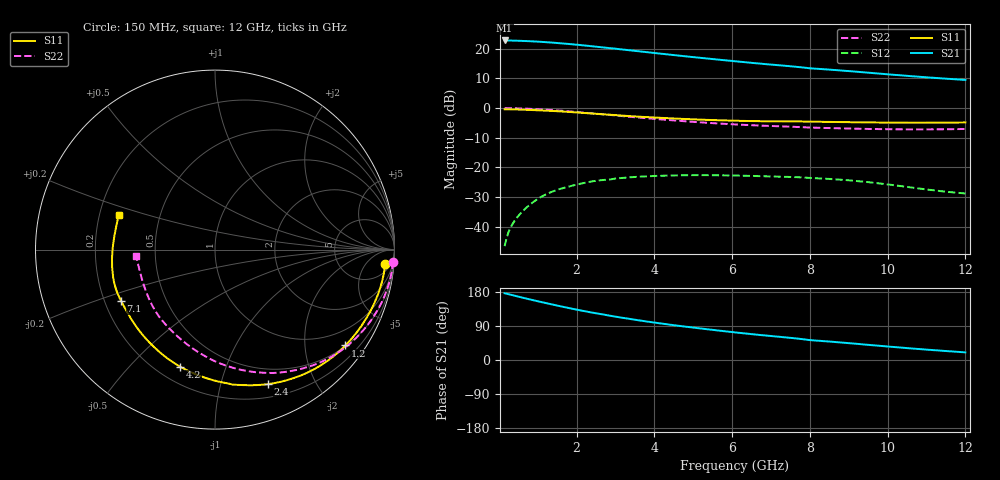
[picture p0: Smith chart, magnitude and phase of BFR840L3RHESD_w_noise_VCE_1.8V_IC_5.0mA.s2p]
! Infineon Technologies  Discrete & RF Semiconductors
! BFR840L3RHESD
! VCE =  1.8 V,  IC =  5.0 mA
! Common Emitter S-Parameters:  Jun 2012
# GHz  S  MA  R  50
!  f  S11  S21  S12  S22
! GHz  MAG  ANG  MAG  ANG  MAG  ANG  MAG  ANG
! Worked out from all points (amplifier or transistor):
!   91 points, 150 MHz to 12 GHz, reference 50 ohm
!   highest |S21| = 22.7 dB at 150 MHz (marker M1)
!   |S21| within 3 dB of that: start of sweep to 3.149 GHz
!   unconditionally stable (mu >= 1): 9.257 GHz to end of sweep
!   at 1.3 GHz: K = 0.11, MSG = 25.3 dB, |S12| = -28.6 dB
!   at 4.3 GHz: K = 0.28, MSG = 20.4 dB, |S12| = -22.8 dB
!   at 12 GHz: K = 2.36, MAG = 12.6 dB, |S12| = -28.8 dB
!   lowest NFmin = 0.50 dB at 450 MHz
!   S11 on the Smith chart (normalised r, x): 150 MHz: 11, -18; 1.2 GHz: 0.52, -2.97; 2.4 GHz: 0.33, -1.42; 4.2 GHz: 0.29, -0.70; 7.1 GHz: 0.27, -0.24; 12 GHz: 0.28, +0.16
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0.15  0.9513 -4.8  13.71 176.1  0.0047 78.8  0.9955 -3.9
0.3  0.9487 -9.6  13.66 172.4  0.0096 80.6  0.9915 -7.8
0.6  0.9363 -18.7  13.47 164.8  0.0179 77.8  0.979 -15.4
0.9  0.9199 -27.6  13.21 157.5  0.0264 69.8  0.9601 -22.6
1.2  0.9019 -36.3  12.85 150.5  0.0347 63.4  0.9363 -29.7
1.5  0.8814 -44.7  12.43 143.7  0.0417 58.8  0.909 -36.7
1.7  0.8658 -50.3  12.12 139.3  0.0456 55.9  0.8888 -41.1
1.9  0.849 -55.7  11.8 135.0  0.0493 52.8  0.8672 -45.5
2.2  0.8227 -63.5  11.29 129.0  0.0547 47.5  0.8333 -51.7
2.4  0.8056 -68.5  10.95 125.2  0.058 44.1  0.8109 -55.7
3  0.7586 -82.5  9.969 114.4  0.0648 35.5  0.7481 -66.7
3.3  0.7342 -88.9  9.47 109.5  0.0673 31.6  0.7171 -72.1
3.7  0.7079 -97.1  8.866 103.2  0.07 27.1  0.6802 -78.7
4.2  0.6804 -106.7  8.167 96.0  0.0722 22.1  0.6395 -86.5
5  0.6431 -120.8  7.191 85.5  0.0738 14.8  0.5836 -98.2
5.6  0.6228 -130.5  6.569 78.3  0.0735 9.7  0.55 -106.5
6.1  0.6098 -137.9  6.101 72.6  0.0727 6.1  0.5274 -113.1
7.1  0.5962 -151.4  5.312 62.3  0.0699 0.4  0.4944 -125.8
8  0.5882 -164.7  4.659 52.5  0.0663 -6.0  0.4677 -138.5
8.5  0.5823 -169.6  4.428 48.7  0.0638 -8.4  0.4587 -143.2
10.5  0.5653 171.0  3.475 31.4  0.0468 -14.8  0.4361 -163.4
12  0.5697 160.5  2.964 20.1  0.0363 -6.2  0.4424 -175.5
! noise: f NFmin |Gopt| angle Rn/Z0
0.45  0.5  0.54  7  0.19
0.9  0.54  0.53  11  0.18
1.9  0.57  0.52  28  0.18
3.5  0.59  0.52  47  0.16
4  0.61  0.51  55  0.16
5.5  0.66  0.52  70  0.14
7  0.73  0.5  89  0.13
8  0.79  0.46  100  0.12
10  0.93  0.42  122  0.1
12  1.1  0.35  153  0.08
